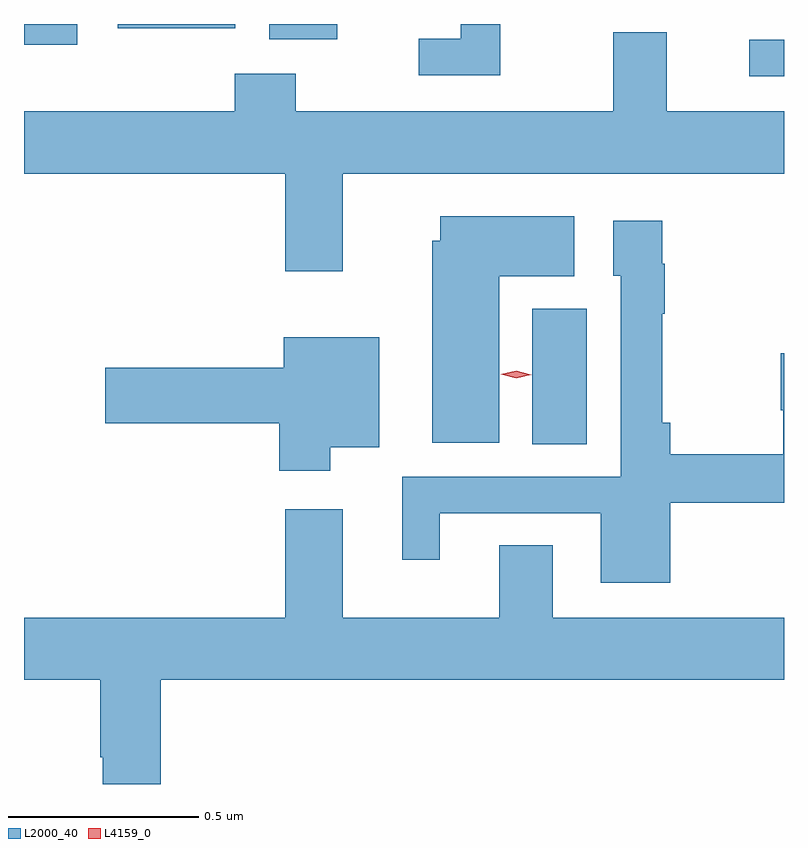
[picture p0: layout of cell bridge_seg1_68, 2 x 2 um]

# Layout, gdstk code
import gdstk
lib = gdstk.Library(unit=1e-6, precision=1e-09)
def R(c, l, rs):  # rectangles x0, y0, x1, y1
    for r in rs: c.add(gdstk.rectangle(r[:2], r[2:], *l))
def P(c, l, *ps):  # polygons
    for p in ps: c.add(gdstk.Polygon(p, *l))
L2000_40 = (2000, 40)
L4159_0 = (4159, 0)

bridge_seg1_68 = lib.new_cell('bridge_seg1_68')
R(bridge_seg1_68, L2000_40, [(614.234,533.704,614.377,534.061), (614.805,534.672,614.896,534.768), (612.896,534.756,613.036,534.81), (613.541,534.77,613.72,534.81), (613.143,534.799,613.452,534.81)])
P(bridge_seg1_68, L2000_40, [(614.149,534.81),(614.045,534.81),(614.045,534.771),(613.935,534.771),(613.935,534.675),(614.149,534.675)],
  [(613.735,534.416),(614.896,534.416),(614.896,534.58),(614.587,534.58),(614.587,534.788),(614.447,534.788),(614.447,534.58),(613.611,534.58),(613.611,534.679),(613.451,534.679),(613.451,534.58),(612.896,534.58),(612.896,534.416),(613.583,534.416),(613.583,534.159),(613.735,534.159)],
  [(614.146,534.146),(614.344,534.146),(614.344,534.304),(613.991,534.304),(613.991,534.24),(613.97,534.24),(613.97,533.708),(614.146,533.708)],
  [(614.596,533.55),(614.896,533.55),(614.896,533.944),(614.887,533.944),(614.887,533.793),(614.894,533.793),(614.894,533.678),(614.596,533.678),(614.596,533.761),(614.575,533.761),(614.575,534.047),(614.582,534.047),(614.582,534.179),(614.575,534.179),(614.575,534.292),(614.447,534.292),(614.447,534.147),(614.466,534.147),(614.466,533.619),(613.892,533.619),(613.892,533.4),(613.99,533.4),(613.99,533.523),(614.414,533.523),(614.414,533.339),(614.596,533.339)],
  [(613.702,533.696),(613.831,533.696),(613.831,533.986),(613.58,533.986),(613.58,533.906),(613.11,533.906),(613.11,533.759),(613.568,533.759),(613.568,533.634),(613.702,533.634)],
  [(613.256,533.084),(614.896,533.084),(614.896,533.248),(614.287,533.248),(614.287,533.438),(614.147,533.438),(614.147,533.248),(613.735,533.248),(613.735,533.533),(613.583,533.533),(613.583,533.248),(612.896,533.248),(612.896,533.084),(613.096,533.084),(613.096,532.88),(613.103,532.88),(613.103,532.81),(613.256,532.81)])
P(bridge_seg1_68, L4159_0, [(614.191,533.878),(614.151,533.888),(614.151,533.888),(614.151,533.888),(614.191,533.898),(614.231,533.887),(614.231,533.887),(614.231,533.887)])

lib.write_gds('bridge_seg1_68.gds')
